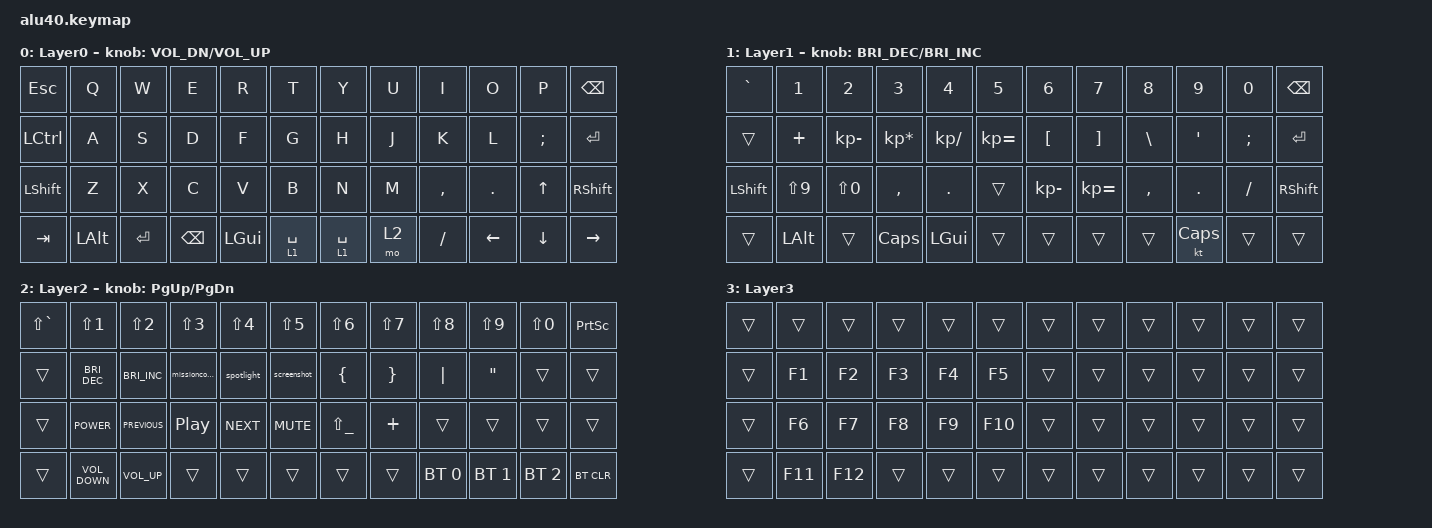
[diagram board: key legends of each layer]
/*
 * Copyright (c) 2022 The ZMK Contributors
 *
 * SPDX-License-Identifier: MIT
 */

#include <behaviors.dtsi>
#include <dt-bindings/zmk/bt.h>
#include <dt-bindings/zmk/keys.h>
#include <dt-bindings/zmk/keys.h>

/ {
    combos {
        compatible = "zmk,combos";

        layer1 {
            bindings = <&tog 1>;
            key-positions = <44 45>;
        };

        Capslock {
            bindings = <&kp CAPS>;
            key-positions = <36 37>;
        };

        functionkeylayer {
            bindings = <&mo 3>;
            key-positions = <47 46>;
        };
    };

    macros {
        missioncontrol: missioncontrol {
            compatible = "zmk,behavior-macro";
            #binding-cells = <0>;
            bindings = <&kp LC(UP_ARROW)>;
            label = "MISSIONCONTROL";
        };

        spotlight: spotlight {
            compatible = "zmk,behavior-macro";
            #binding-cells = <0>;
            bindings = <&kp LG(SPACE)>;
            label = "SPOTLIGHT";
        };

        screenshot: screenshot {
            compatible = "zmk,behavior-macro";
            #binding-cells = <0>;
            bindings = <&kp LGUI &kp LS(NUMBER_4)>, <&macro_press>;

            label = "SCREENSHOT";
        };
    };

    keymap {
        compatible = "zmk,keymap";

        Layer0 {
            // -----------------------------------------------------------------------------------------
            // | ESC/~ |  Q   |  W   |  E   |  R   |  T   |   Y   |  U    |  I   |  O   |   P   | BSPC  |
            // | TAB   |  A   |  S   |  D   |  F   |  G   |   H   |  J    |  K   |  L   |   ;   |  '    |
            // | SHIFT |  Z   |  X   |  C   |  V   |  B   |   N   |  M    |  ,   |  .   |   /   |RET/SFT|
            // | PLAY  | LCTL | LALT | LGUI | LOWR |     SPACE    |  RAIS | LARW | UARW | DARW  |  RARW |

            bindings = <
&kp ESC           &kp Q     &kp W      &kp E          &kp R         &kp T        &kp Y        &kp U  &kp I      &kp O     &kp P          &kp BSPC
&kp LEFT_CONTROL  &kp A     &kp S      &kp D          &kp F         &kp G        &kp H        &kp J  &kp K      &kp L     &kp SEMICOLON  &kp ENTER
&kp LSHFT         &kp Z     &kp X      &kp C          &kp V         &kp B        &kp N        &kp M  &kp COMMA  &kp DOT   &kp UP         &kp RIGHT_SHIFT
&kp TAB           &kp LALT  &kp ENTER  &kp BACKSPACE  &kp LEFT_GUI  &lt 1 SPACE  &lt 1 SPACE  &mo 2  &kp SLASH  &kp LEFT  &kp DOWN       &kp RIGHT
            >;

            sensor-bindings = <&inc_dec_kp C_VOL_DN C_VOL_UP>;
        };

        Layer1 {
            bindings = <
&kp GRAVE  &kp N1        &kp N2        &kp N3           &kp N4         &kp N5        &kp N6            &kp N7             &kp N8         &kp N9            &kp N0         &kp BSPC
&trans     &kp PLUS      &kp KP_MINUS  &kp KP_MULTIPLY  &kp KP_DIVIDE  &kp KP_EQUAL  &kp LEFT_BRACKET  &kp RIGHT_BRACKET  &kp BACKSLASH  &kp SINGLE_QUOTE  &kp SEMICOLON  &kp ENTER
&kp LSHFT  &kp LS(N9)    &kp LS(N0)    &kp COMMA        &kp DOT        &trans        &kp KP_MINUS      &kp KP_EQUAL       &kp COMMA      &kp DOT           &kp SLASH      &kp RIGHT_SHIFT
&trans     &kp LEFT_ALT  &trans        &kp CAPSLOCK     &kp LEFT_GUI   &trans        &trans            &trans             &trans         &kt CAPS          &trans         &trans
            >;

            sensor-bindings = <&inc_dec_kp C_BRI_DEC C_BRI_INC>;
        };

        Layer2 {
            bindings = <
&kp LS(GRAVE)  &kp LS(N1)            &kp LS(N2)            &kp LS(N3)        &kp LS(N4)  &kp LS(N5)   &kp LS(N6)          &kp LS(N7)       &kp LS(N8)    &kp LS(N9)         &kp LS(N0)    &kp PRINTSCREEN
&trans         &kp C_BRIGHTNESS_DEC  &kp C_BRIGHTNESS_INC  &missioncontrol   &spotlight  &screenshot  &kp LEFT_BRACE      &kp RIGHT_BRACE  &kp PIPE      &kp DOUBLE_QUOTES  &trans        &trans
&trans         &kp K_POWER           &kp C_PREVIOUS        &kp C_PLAY_PAUSE  &kp C_NEXT  &kp C_MUTE   &kp LS(UNDERSCORE)  &kp PLUS         &trans        &trans             &trans        &trans
&trans         &kp C_VOLUME_DOWN     &kp C_VOLUME_UP       &trans            &trans      &trans       &trans              &trans           &bt BT_SEL 0  &bt BT_SEL 1       &bt BT_SEL 2  &bt BT_CLR
            >;

            sensor-bindings = <&inc_dec_kp PG_UP PG_DN>;
        };

        Layer3 {
            bindings = <
&trans  &trans   &trans   &trans  &trans  &trans   &trans  &trans  &trans  &trans  &trans  &trans
&trans  &kp F1   &kp F2   &kp F3  &kp F4  &kp F5   &trans  &trans  &trans  &trans  &trans  &trans
&trans  &kp F6   &kp F7   &kp F8  &kp F9  &kp F10  &trans  &trans  &trans  &trans  &trans  &trans
&trans  &kp F11  &kp F12  &trans  &trans  &trans   &trans  &trans  &trans  &trans  &trans  &trans
            >;
        };
    };
};
